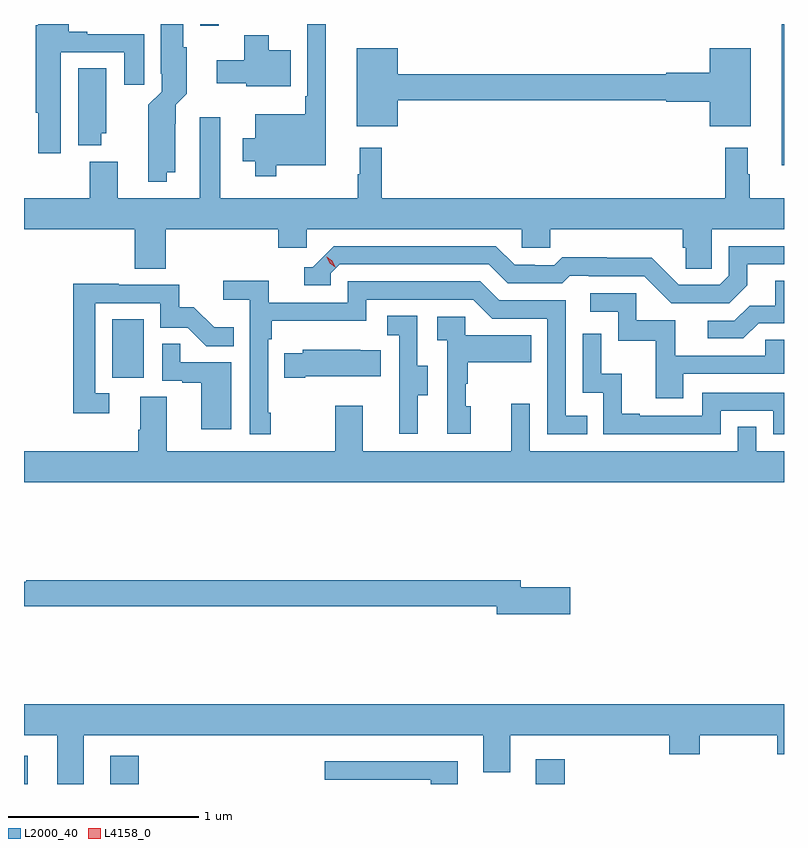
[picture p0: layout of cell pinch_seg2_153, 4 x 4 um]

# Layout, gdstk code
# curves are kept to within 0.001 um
import gdstk
lib = gdstk.Library(unit=1e-6, precision=1e-09)
def R(c, l, rs):  # rectangles x0, y0, x1, y1
    for r in rs: c.add(gdstk.rectangle(r[:2], r[2:], *l))
def P(c, l, *ps):  # polygons
    for p in ps: c.add(gdstk.Polygon(p, *l))
L2000_40 = (2000, 40)
L4158_0 = (4158, 0)

pinch_seg2_153 = lib.new_cell('pinch_seg2_153')
R(pinch_seg2_153, L2000_40, [(1124.339,642.052,1124.359,642.202), (1124.792,642.052,1124.942,642.202), (1127.033,642.052,1127.186,642.181), (1124.804,644.19,1124.968,644.497), (1128.326,645.308,1128.339,646.052), (1125.267,646.044,1125.365,646.052)])
P(pinch_seg2_153, L2000_40, [(1125.091,645.272),(1125.136,645.272),(1125.137,645.626),(1125.196,645.685),(1125.196,645.93),(1125.178,645.93),(1125.178,646.052),(1125.059,646.052),(1125.059,645.79),(1125.063,645.79),(1125.063,645.696),(1124.993,645.626),(1124.994,645.221),(1125.091,645.221)],
  [(1124.533,645.903),(1124.867,645.903),(1124.867,645.732),(1124.971,645.732),(1124.971,645.999),(1124.671,645.999),(1124.671,646.012),(1124.575,646.012),(1124.575,646.052),(1124.414,646.052),(1124.414,646.046),(1124.402,646.046),(1124.402,645.584),(1124.414,645.584),(1124.414,645.372),(1124.533,645.372)],
  [(1125.667,645.308),(1125.928,645.308),(1125.928,646.052),(1125.831,646.052),(1125.831,645.673),(1125.819,645.673),(1125.819,645.577),(1125.557,645.577),(1125.557,645.451),(1125.491,645.451),(1125.491,645.329),(1125.557,645.329),(1125.557,645.251),(1125.667,645.251)],
  [(1125.742,645.913),(1125.628,645.913),(1125.628,645.994),(1125.499,645.994),(1125.499,645.862),(1125.354,645.862),(1125.354,645.74),(1125.51,645.74),(1125.51,645.725),(1125.742,645.725)],
  [(1126.306,645.652),(1127.718,645.652),(1127.718,645.644),(1127.948,645.644),(1127.948,645.515),(1128.163,645.515),(1128.163,645.925),(1127.948,645.925),(1127.948,645.796),(1127.718,645.796),(1127.718,645.788),(1126.306,645.788),(1126.306,645.925),(1126.091,645.925),(1126.091,645.515),(1126.306,645.515)],
  [(1124.746,645.477),(1124.773,645.477),(1124.773,645.818),(1124.624,645.818),(1124.624,645.413),(1124.746,645.413)],
  [(1125.086,644.972),(1125.677,644.972),(1125.677,644.874),(1125.828,644.874),(1125.828,644.972),(1126.959,644.972),(1126.959,644.874),(1127.109,644.874),(1127.109,644.972),(1127.807,644.972),(1127.807,644.874),(1127.821,644.874),(1127.821,644.764),(1127.958,644.764),(1127.958,644.972),(1128.339,644.972),(1128.339,645.136),(1128.16,645.136),(1128.16,645.26),(1128.148,645.26),(1128.148,645.4),(1128.031,645.4),(1128.031,645.136),(1126.223,645.136),(1126.223,645.4),(1126.106,645.4),(1126.106,645.26),(1126.095,645.26),(1126.095,645.136),(1125.373,645.136),(1125.373,645.562),(1125.263,645.562),(1125.263,645.136),(1124.833,645.136),(1124.833,645.328),(1124.686,645.328),(1124.686,645.136),(1124.339,645.136),(1124.339,644.972),(1124.921,644.972),(1124.921,644.764),(1125.086,644.764)],
  [(1128.145,644.677),(1128.145,644.787),(1128.339,644.787),(1128.339,644.883),(1128.048,644.883),(1128.048,644.727),(1128,644.679),(1127.784,644.679),(1127.642,644.821),(1127.406,644.821),(1127.406,644.824),(1127.173,644.824),(1127.131,644.781),(1127.028,644.781),(1127.028,644.784),(1126.921,644.784),(1126.822,644.883),(1125.969,644.883),(1125.858,644.772),(1125.815,644.772),(1125.815,644.676),(1125.954,644.676),(1125.954,644.739),(1126.002,644.787),(1126.785,644.787),(1126.884,644.688),(1127.173,644.688),(1127.212,644.727),(1127.311,644.727),(1127.311,644.724),(1127.604,644.724),(1127.745,644.583),(1128.051,644.583)],
  [(1125.637,644.005),(1125.624,644.005),(1125.624,644.393),(1125.644,644.393),(1125.644,644.489),(1126.14,644.489),(1126.14,644.601),(1126.704,644.601),(1126.803,644.502),(1127.094,644.502),(1127.094,643.893),(1127.303,643.893),(1127.303,643.989),(1127.19,643.989),(1127.19,644.598),(1126.84,644.598),(1126.741,644.697),(1126.044,644.697),(1126.044,644.586),(1125.626,644.586),(1125.626,644.702),(1125.387,644.702),(1125.387,644.6),(1125.528,644.6),(1125.528,643.893),(1125.637,643.893)],
  [(1128.205,644.478),(1128.339,644.478),(1128.339,644.702),(1128.293,644.702),(1128.293,644.57),(1128.158,644.57),(1128.078,644.49),(1127.937,644.49),(1127.937,644.397),(1128.124,644.397)],
  [(1124.788,644.109),(1124.715,644.109),(1124.715,644.583),(1125.057,644.583),(1125.057,644.454),(1125.201,644.454),(1125.299,644.356),(1125.443,644.356),(1125.443,644.455),(1125.339,644.455),(1125.232,644.562),(1125.156,644.562),(1125.156,644.679),(1124.837,644.679),(1124.837,644.684),(1124.599,644.684),(1124.599,644.004),(1124.788,644.004)],
  [(1127.809,644.211),(1128.339,644.211),(1128.339,644.391),(1128.241,644.391),(1128.241,644.307),(1127.767,644.307),(1127.767,644.493),(1127.562,644.493),(1127.562,644.634),(1127.319,644.634),(1127.319,644.538),(1127.466,644.538),(1127.466,644.385),(1127.665,644.385),(1127.665,644.082),(1127.809,644.082)],
  [(1126.411,644.098),(1126.465,644.098),(1126.465,644.253),(1126.41,644.253),(1126.41,644.516),(1126.251,644.516),(1126.251,644.413),(1126.314,644.413),(1126.314,644.109),(1126.313,644.109),(1126.313,643.896),(1126.411,643.896)],
  [(1126.69,644.04),(1126.665,644.04),(1126.665,644.159),(1126.675,644.159),(1126.675,644.273),(1127.009,644.273),(1127.009,644.413),(1126.662,644.413),(1126.662,644.511),(1126.515,644.511),(1126.515,644.387),(1126.566,644.387),(1126.566,643.896),(1126.69,643.896)],
  [(1128.006,644.016),(1128.282,644.016),(1128.282,643.893),(1128.339,643.893),(1128.339,644.112),(1127.91,644.112),(1127.91,643.989),(1127.581,643.989),(1127.581,644.002),(1127.486,644.002),(1127.486,644.21),(1127.376,644.21),(1127.376,644.422),(1127.28,644.422),(1127.28,644.112),(1127.388,644.112),(1127.388,643.893),(1128.006,643.893)],
  [(1125.43,644.271),(1125.161,644.271),(1125.161,644.369),(1125.066,644.369),(1125.066,644.175),(1125.173,644.175),(1125.173,644.163),(1125.272,644.163),(1125.272,643.92),(1125.43,643.92)],
  [(1125.82,644.198),(1126.217,644.198),(1126.217,644.335),(1126.109,644.335),(1126.109,644.338),(1125.807,644.338),(1125.807,644.32),(1125.709,644.32),(1125.709,644.191),(1125.82,644.191)],
  [(1128.339,643.804),(1128.192,643.804),(1128.192,643.931),(1128.096,643.931),(1128.096,643.804),(1127.001,643.804),(1127.001,644.053),(1126.904,644.053),(1126.904,643.804),(1126.123,643.804),(1126.123,644.044),(1125.976,644.044),(1125.976,643.804),(1125.091,643.804),(1125.091,644.09),(1124.951,644.09),(1124.951,643.916),(1124.939,643.916),(1124.939,643.804),(1124.339,643.804),(1124.339,643.64),(1128.339,643.64)],
  [(1127.215,643.088),(1126.954,643.088),(1126.954,643.124),(1124.35,643.124),(1124.35,643.117),(1124.339,643.117),(1124.339,642.988),(1126.826,642.988),(1126.826,642.946),(1127.215,642.946)],
  [(1124.653,642.308),(1126.757,642.308),(1126.757,642.114),(1126.897,642.114),(1126.897,642.308),(1127.735,642.308),(1127.735,642.209),(1127.895,642.209),(1127.895,642.308),(1128.304,642.308),(1128.304,642.209),(1128.339,642.209),(1128.339,642.472),(1124.339,642.472),(1124.339,642.308),(1124.513,642.308),(1124.513,642.052),(1124.653,642.052)],
  [(1126.621,642.172),(1125.921,642.172),(1125.921,642.075),(1126.481,642.075),(1126.481,642.052),(1126.621,642.052)])
P(pinch_seg2_153, L4158_0, [(1125.978,644.772),(1125.947,644.793),(1125.932,644.826),(1125.932,644.826),(1125.932,644.826),(1125.962,644.806),(1125.978,644.773),(1125.978,644.772)])

lib.write_gds('pinch_seg2_153.gds')
